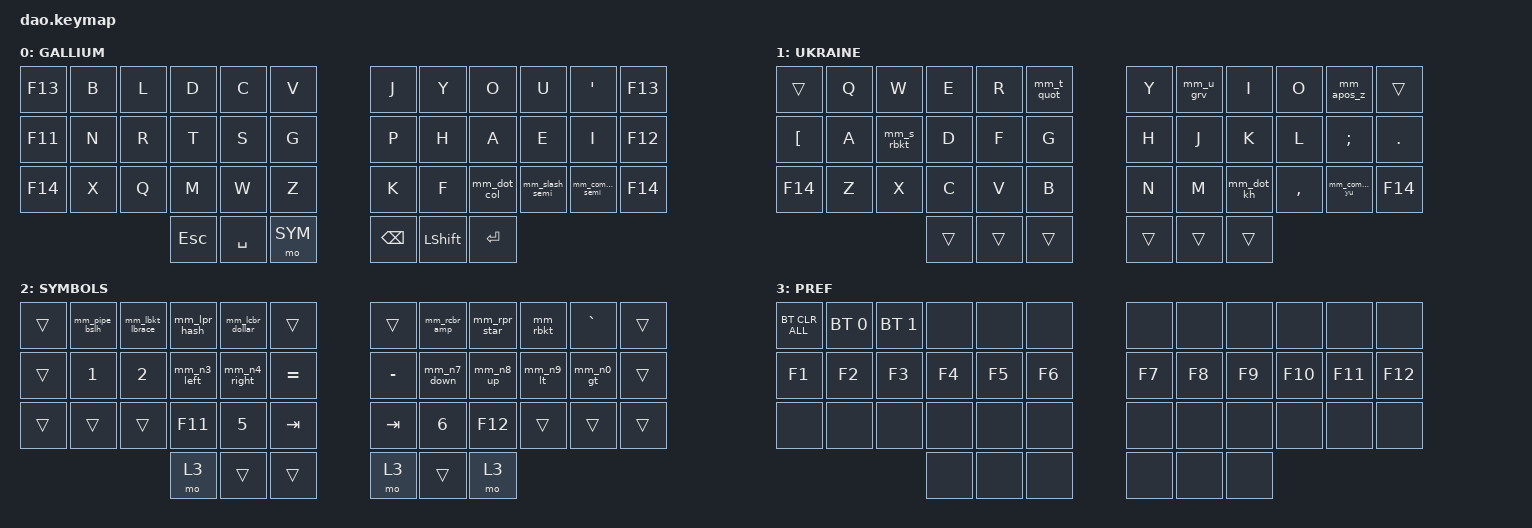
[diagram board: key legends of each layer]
/*
 * Copyright (c) 2021 Rafael Yumagulov
 *
 * SPDX-License-Identifier: MIT
 */

#include <behaviors.dtsi>
#include <dt-bindings/zmk/bt.h>
#include <dt-bindings/zmk/keys.h>

#define GALLIUM 0
#define UA 1
#define SYM 2
#define PREF 3

/*
 * &lt { quick_tap_ms = <200>; };
 * &mt { quick_tap_ms = <200>; };
*/

/ {
    chosen {
        zmk,matrix_transform = &default_transform;

        // zmk,matrix_transform = &extra_keys_transform;
    };
};

/ {
    behaviors {
        mm_comma_semi: mm_comma_semi {
            compatible = "zmk,behavior-mod-morph";
            label = "MM_COMMA_SEMI";
            bindings = <&kp COMMA>, <&kp LS(SLASH)>;

            #binding-cells = <0>;
            mods = <(MOD_LSFT)>;
        };

        mm_dot_col: mm_dot_col {
            compatible = "zmk,behavior-mod-morph";
            label = "MM_DOT_COL";
            bindings = <&kp DOT>, <&kp COLON>;

            #binding-cells = <0>;
            mods = <(MOD_LSFT)>;
        };

        mm_slash_semi: mm_slash_semi {
            compatible = "zmk,behavior-mod-morph";
            label = "MM_SLASH_SEMI";
            bindings = <&kp SLASH>, <&kp SEMI>;
            #binding-cells = <0>;
            mods = <(MOD_LSFT)>;
        };

        mm_pipe_bslh: mm_pipe_bslh {
            compatible = "zmk,behavior-mod-morph";
            label = "MM_PIPE_BSLH";
            bindings = <&kp PIPE>, <&kp BACKSLASH>;

            #binding-cells = <0>;
            mods = <(MOD_LSFT)>;
        };

        mm_lbkt_lbrace: mm_lbkt_lbrace {
            compatible = "zmk,behavior-mod-morph";
            label = "MM_LBKT_LBRACE";
            bindings = <&kp LBKT>, <&kp LEFT_BRACE>;

            #binding-cells = <0>;
            mods = <(MOD_LSFT)>;
        };

        mm_lpr_hash: mm_lpr_hash {
            compatible = "zmk,behavior-mod-morph";
            label = "MM_LPR_HASH";
            bindings = <&kp LS(N9)>, <&kp LS(N3)>;

            #binding-cells = <0>;
            mods = <(MOD_LSFT)>;
        };

        mm_lcbr_dollar: mm_lcbr_dollar {
            compatible = "zmk,behavior-mod-morph";
            label = "MM_LCBR_DOLLAR";
            bindings = <&kp LS(LBKT)>, <&kp LS(N4)>;

            #binding-cells = <0>;
            mods = <(MOD_LSFT)>;
        };

        mm_rcbr_amp: mm_rcbr_amp {
            compatible = "zmk,behavior-mod-morph";
            label = "MM_RCBR_AMP";
            bindings = <&kp LS(RBKT)>, <&kp LS(N7)>;

            #binding-cells = <0>;
            mods = <(MOD_LSFT)>;
        };

        mm_rpr_star: mm_rpr_star {
            compatible = "zmk,behavior-mod-morph";
            label = "mm_rpr_star";
            bindings = <&kp LS(N0)>, <&kp LS(N8)>;

            #binding-cells = <0>;
            mods = <(MOD_LSFT)>;
        };

        mm_rbkt: mm_rbkt {
            compatible = "zmk,behavior-mod-morph";
            label = "MM_RBKT";
            bindings = <&kp RBKT>, <&kp LS(RBKT)>;

            #binding-cells = <0>;
            mods = <(MOD_LSFT)>;
        };

        mm_n3_left: mm_n3_left {
            compatible = "zmk,behavior-mod-morph";
            label = "MM_N3_LEFT";
            bindings = <&kp N3>, <&kp LEFT>;

            #binding-cells = <0>;
            mods = <(MOD_LSFT)>;
        };

        mm_n4_right: mm_n4_right {
            compatible = "zmk,behavior-mod-morph";
            label = "MM_N4_RIGHT";
            bindings = <&kp N4>, <&kp RIGHT>;

            #binding-cells = <0>;
            mods = <(MOD_LSFT)>;
        };

        mm_n7_down: mm_n7_down {
            compatible = "zmk,behavior-mod-morph";
            label = "MM_N7_DOWN";
            bindings = <&kp N7>, <&kp DOWN>;

            #binding-cells = <0>;
            mods = <(MOD_LSFT)>;
        };

        mm_n8_up: mm_n8_up {
            compatible = "zmk,behavior-mod-morph";
            label = "MM_N8_UP";
            bindings = <&kp N8>, <&kp UP>;

            #binding-cells = <0>;
            mods = <(MOD_LSFT)>;
        };

        mm_n9_lt: mm_n9_lt {
            compatible = "zmk,behavior-mod-morph";
            label = "MM_N9_LT";
            bindings = <&kp N9>, <&kp LESS_THAN>;

            #binding-cells = <0>;
            mods = <(MOD_LSFT)>;
        };

        mm_n0_gt: mm_n0_gt {
            compatible = "zmk,behavior-mod-morph";
            label = "MM_N0_GT";
            bindings = <&kp N0>, <&kp GREATER_THAN>;

            #binding-cells = <0>;
            mods = <(MOD_LSFT)>;
        };

        mm_t_quot: mm_t_quot {
            compatible = "zmk,behavior-mod-morph";
            label = "MM_T_QUOT";
            bindings = <&kp T>, <&kp SINGLE_QUOTE>;

            #binding-cells = <0>;
            mods = <(MOD_LSFT)>;
        };

        mm_s_rbkt: mm_s_rbkt {
            compatible = "zmk,behavior-mod-morph";
            label = "MM_S_RBKT";
            bindings = <&kp S>, <&kp RBKT>;

            #binding-cells = <0>;
            mods = <(MOD_LSFT)>;
        };

        mm_u_grv: mm_u_grv {
            compatible = "zmk,behavior-mod-morph";
            label = "MM_U_GRV";
            bindings = <&kp U>, <&kp GRAVE>;

            #binding-cells = <0>;
            mods = <(MOD_LSFT)>;
        };

        mm_dot_kh: mm_dot_kh {
            compatible = "zmk,behavior-mod-morph";
            label = "MM_DOT_KH";
            bindings = <&kp LBKT>, <&kp SLASH>;

            #binding-cells = <0>;
            mods = <(MOD_LSFT)>;
        };

        mm_comma_yu: mm_comma_yu {
            compatible = "zmk,behavior-mod-morph";
            label = "MM_COMMA_YU";
            bindings = <&kp DOT>, <&kp LS(SLASH)>;

            #binding-cells = <0>;
            mods = <(MOD_LSFT)>;
        };

        mm_apos_z: mm_apos_z {
            compatible = "zmk,behavior-mod-morph";
            label = "MM_APOS_Z";
            bindings = <&kp P>, <&kp BSLH>;

            #binding-cells = <0>;
            mods = <(MOD_LSFT)>;
        };
    };

    combos {
        compatible = "zmk,combos";

        left_index_home_top_ctrl {
            bindings = <&sk LCTRL>;
            key-positions = <4 16>;
            layers = <0 1 2>;
            timeout-ms = <50>;
        };

        left_middle_home_top_cmd {
            bindings = <&sk LGUI>;
            key-positions = <15 3>;
            layers = <0 1 2>;
            timeout-ms = <50>;
        };

        left_ring_home_top_opt {
            bindings = <&sk LALT>;
            key-positions = <14 2>;
            layers = <0 1 2>;
            timeout-ms = <50>;
        };

        right_index_home_top_ctrl {
            bindings = <&sk RCTRL>;
            key-positions = <7 19>;
            layers = <0 1 2>;
            timeout-ms = <50>;
        };

        right_middle_home_top_cmd {
            bindings = <&sk RGUI>;
            key-positions = <8 20>;
            layers = <0 1 2>;
            timeout-ms = <50>;
        };

        right_ring_home_top_opt {
            bindings = <&sk RALT>;
            key-positions = <9 21>;
            layers = <0 1 2>;
            timeout-ms = <50>;
        };

        gallium_to_ua {
            bindings = <&m_to_ua>;
            key-positions = <38 39>;
            layers = <0>;
        };

        ua_to_gallium {
            bindings = <&m_to_gallium>;
            key-positions = <38 39>;
            layers = <1>;
        };

        pwd_r {
            bindings = <&pwd>;
            key-positions = <6 11>;
        };

        pwd_l {
            bindings = <&pwd>;
            key-positions = <0 5>;
        };
    };

    macros {
        m_to_ua: m_to_ua {
            compatible = "zmk,behavior-macro";
            #binding-cells = <0>;
            bindings = <&kp F15 &to UA>;
            label = "M_TO_UA";
            wait-ms = <30>;
            tap-ms = <40>;
        };

        m_to_gallium: m_to_gallium {
            compatible = "zmk,behavior-macro";
            #binding-cells = <0>;
            bindings = <&kp F14 &to GALLIUM>;
            label = "M_TO_GALLIUM";
            wait-ms = <30>;
            tap-ms = <40>;
        };

        pwd: pwd {
            compatible = "zmk,behavior-macro";
            #binding-cells = <0>;
            bindings = <&kp H>;
            label = "PWD";
        };
    };

    keymap {
        compatible = "zmk,keymap";

        GALLIUM {
            label = " GALLIUM";
            bindings = <
&kp F13  &kp B  &kp L  &kp D    &kp C      &kp V    &kp J     &kp Y       &kp O            &kp U          &kp SQT         &kp F13
&kp F11  &kp N  &kp R  &kp T    &kp S      &kp G    &kp P     &kp H       &kp A            &kp E          &kp I           &kp F12
&kp F14  &kp X  &kp Q  &kp M    &kp W      &kp Z    &kp K     &kp F       &mm_dot_col      &mm_slash_semi &mm_comma_semi  &kp F14
                        &kp ESC  &kp SPACE  &mo SYM  &kp BSPC  &kp LSHIFT  &kp RET
            >;
        };

        UA {
            label = " UKRAINE";
            bindings = <
&trans    &kp Q  &kp W       &kp E   &kp R   &mm_t_quot  &kp Y   &mm_u_grv  &kp I       &kp O       &mm_apos_z   &trans
&kp LBKT &kp A  &mm_s_rbkt  &kp D   &kp F   &kp G       &kp H   &kp J      &kp K       &kp L       &kp SEMI     &kp DOT
&kp F14  &kp Z  &kp X       &kp C   &kp V   &kp B       &kp N   &kp M      &mm_dot_kh  &kp COMMA   &mm_comma_yu &kp F14
                             &trans  &trans  &trans      &trans  &trans     &trans
            >;
        };

        SYM {
            label = " SYMBOLS";
            bindings = <
&trans  &mm_pipe_bslh  &mm_lbkt_lbrace  &mm_lpr_hash  &mm_lcbr_dollar  &trans     &trans     &mm_rcbr_amp  &mm_rpr_star  &mm_rbkt   &kp GRAVE  &trans
&trans  &kp N1         &kp N2           &mm_n3_left   &mm_n4_right     &kp EQUAL  &kp MINUS  &mm_n7_down   &mm_n8_up     &mm_n9_lt  &mm_n0_gt  &trans
&trans  &trans         &trans           &kp F11       &kp N5           &kp TAB    &kp TAB    &kp N6        &kp F12       &trans     &trans     &trans
                                        &mo 3         &trans           &trans     &mo 3      &trans        &mo 3
            >;
        };

        PREF {
            label = " PREF";
            bindings = <
&bt BT_CLR_ALL  &bt BT_SEL 0  &bt BT_SEL 1  &none   &none   &none   &none   &none   &none   &none    &none    &none
&kp F1          &kp F2        &kp F3        &kp F4  &kp F5  &kp F6  &kp F7  &kp F8  &kp F9  &kp F10  &kp F11  &kp F12
&none           &none         &none         &none   &none   &none   &none   &none   &none   &none    &none    &none
                                            &none   &none   &none   &none   &none   &none
            >;
        };
    };
};
